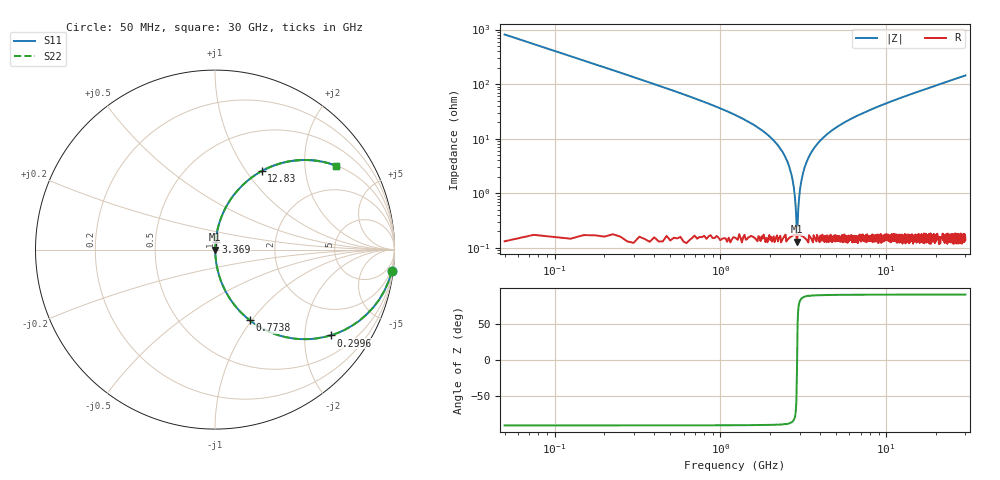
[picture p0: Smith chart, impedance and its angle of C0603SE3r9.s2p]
# MHZ S MA R 50
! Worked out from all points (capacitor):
!   1201 points, 50 MHz to 30 GHz, reference 50 ohm
!   read as one part in series: C = 3.9 pF near 199.8 MHz
!   lowest |Z| = 129 mohm at 2.895 GHz (marker M1)
!   series resonance near 2.899 GHz, so ESL is about 770 pH
!   S11 on the Smith chart (normalised r, x): 50 MHz: 1, -16; 299.6 MHz: 1.00, -2.70; 773.8 MHz: 1.00, -0.98; 3.369 GHz: 1.00, +0.08; 12.83 GHz: 1.00, +1.18; 30 GHz: 1.00, +2.89
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50  0.993 -7.0  0.122 83.0  0.122 83.0  0.993 -7.0
299.583  0.803 -36.6  0.596 53.4  0.596 53.4  0.803 -36.6
524.208  0.601 -52.9  0.798 36.9  0.798 36.9  0.601 -52.9
773.792  0.439 -63.8  0.897 26.1  0.897 26.1  0.439 -63.8
1322.875  0.237 -75.9  0.97 13.7  0.97 13.7  0.237 -75.9
2321.208  0.063 -85.0  0.997 3.6  0.997 3.6  0.063 -85.0
2595.75  0.031 -85.5  0.998 1.8  0.998 1.8  0.031 -85.5
2695.583  0.02 -84.6  0.998 1.2  0.998 1.2  0.02 -84.6
2795.417  0.01 -81.1  0.998 0.6  0.998 0.6  0.01 -81.1
2895.25  0.001534 -12.5  0.999 0.0  0.999 0.0  0.001534 -12.5
2995.083  0.009322 80.2  0.998 -0.5  0.998 -0.5  0.009322 80.2
3144.833  0.023 85.0  0.998 -1.3  0.998 -1.3  0.023 85.0
3369.458  0.042 85.5  0.998 -2.4  0.998 -2.4  0.042 85.5
3993.417  0.091 83.8  0.994 -5.2  0.994 -5.2  0.091 83.8
5041.667  0.162 80.2  0.985 -9.3  0.985 -9.3  0.162 80.2
6988.417  0.27 74.0  0.961 -15.7  0.961 -15.7  0.27 74.0
10058.29  0.408 65.7  0.911 -24.1  0.911 -24.1  0.408 65.7
12828.67  0.508 59.3  0.86 -30.6  0.86 -30.6  0.508 59.3
15025  0.574 54.8  0.817 -35.1  0.817 -35.1  0.574 54.8
20016.67  0.689 46.4  0.724 -43.5  0.724 -43.5  0.689 46.4
25033.29  0.768 39.8  0.64 -50.1  0.64 -50.1  0.768 39.8
30000  0.822 34.7  0.569 -55.2  0.569 -55.2  0.822 34.7
